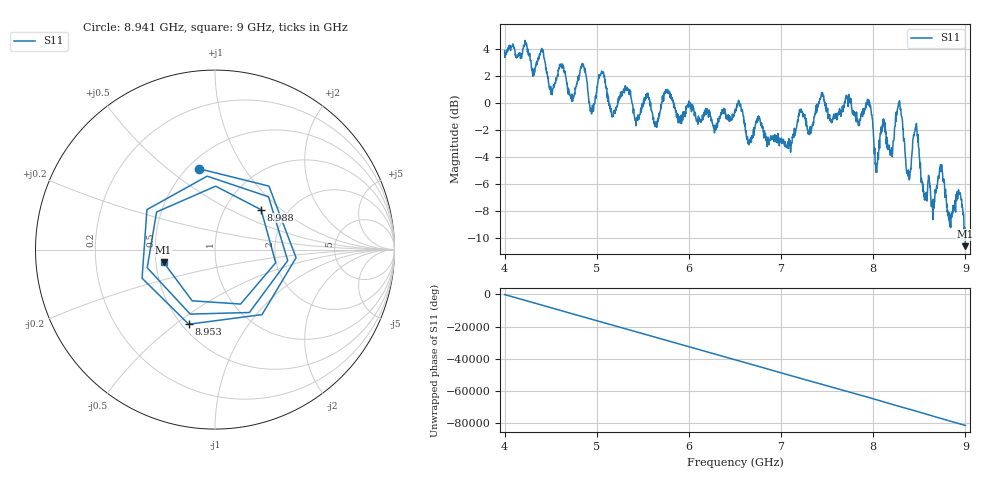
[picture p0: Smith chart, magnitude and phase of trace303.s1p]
! Created with skrf 1.8.0 (http://scikit-rf.org).
# Hz S RI R 50.0
!freq ReS11 ImS11
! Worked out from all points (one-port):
!   1601 points, 4 GHz to 9 GHz, reference 50 ohm
!   lowest |S11| = -10.6 dB at 9 GHz (marker M1), VSWR 1.84, Z = 27.5 - j4.28 ohm
!   |S11| at or under -10 dB: 8.99648 GHz to end of sweep
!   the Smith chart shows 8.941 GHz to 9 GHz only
!   S11 on the Smith chart (normalised r, x): 8.941 GHz: 0.57, +0.65; 8.953 GHz: 0.54, -0.56; 8.988 GHz: 1.47, +0.74; 9 GHz: 0.55, -0.09
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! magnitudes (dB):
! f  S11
! 4 GHz  3.9
! 4.403 GHz  4.0
! 4.509 GHz  0.9
! 4.625 GHz  2.9
! 4.731 GHz  0.7
! 4.856 GHz  2.8
! 4.941 GHz  -0.6
! 5.047 GHz  2.2
! 5.166 GHz  -1.0
! 5.25 GHz  0.3
! 5.875 GHz  -0.9
! 6.5 GHz  -0.7
! 6.653 GHz  -2.8
! 7.125 GHz  -2.6
! 7.438 GHz  0.8
! 7.75 GHz  0.2
! 7.953 GHz  0.1
! 8.038 GHz  -5.1
! 8.288 GHz  0.0
! 8.375 GHz  -5.0
! 8.462 GHz  -2.0
! 8.562 GHz  -7.1
! 8.728 GHz  -4.8
! 8.828 GHz  -8.8
! 8.941 GHz  -6.8
! 8.953 GHz  -7.1
! 8.988 GHz  -9.4
! 9 GHz  -10.6
